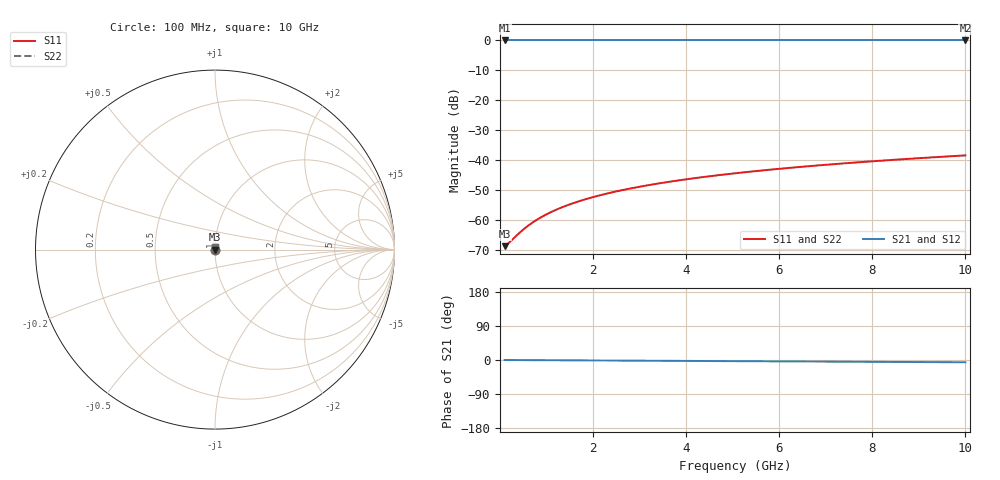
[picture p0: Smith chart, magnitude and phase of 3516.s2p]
# Hz S RI R 50.00
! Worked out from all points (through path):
!   100 points, 100 MHz to 10 GHz, reference 50 ohm
!   highest |S21| = 0.00 dB at 100 MHz (marker M1); lowest = 0.0 dB at 10 GHz (marker M2)
!   lowest |S11| = -68.7 dB at 100 MHz (marker M3), VSWR 1.00, Z = 50 + j0.012 ohm
!   |S11| at or under -10 dB: start of sweep to end of sweep
!   |S22| runs from -68.7 to -38.4 dB; largest |S21 - S12| = 0
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1e8  0.000348 0.00012  0.9996 -0.00104  0.9996 -0.00104  0.000348 0.00012
2e8  0.00035 0.00024  0.9996 -0.00208  0.9996 -0.00208  0.00035 0.00024
4e8  0.000354 0.000479  0.9996 -0.00417  0.9996 -0.00417  0.000354 0.000479
5e8  0.000356 0.000599  0.9996 -0.00521  0.9996 -0.00521  0.000356 0.000599
6e8  0.000358 0.000718  0.9996 -0.00626  0.9996 -0.00626  0.000358 0.000718
7e8  0.00036 0.000838  0.9996 -0.0073  0.9996 -0.0073  0.00036 0.000838
9e8  0.000365 0.00108  0.9996 -0.00938  0.9996 -0.00938  0.000365 0.00108
1.1e9  0.000371 0.00132  0.9996 -0.0115  0.9996 -0.0115  0.000371 0.00132
1.3e9  0.000377 0.00156  0.9995 -0.0136  0.9995 -0.0136  0.000377 0.00156
1.5e9  0.000385 0.00179  0.9995 -0.0156  0.9995 -0.0156  0.000385 0.00179
1.8e9  0.000397 0.00215  0.9994 -0.0188  0.9994 -0.0188  0.000397 0.00215
2.1e9  0.000412 0.00251  0.9994 -0.0219  0.9994 -0.0219  0.000412 0.00251
2.5e9  0.000436 0.00299  0.9993 -0.0261  0.9993 -0.0261  0.000436 0.00299
2.9e9  0.000463 0.00346  0.9992 -0.0303  0.9992 -0.0303  0.000463 0.00346
3.4e9  0.000502 0.00406  0.999 -0.0355  0.999 -0.0355  0.000502 0.00406
4.2e9  0.000578 0.00501  0.9986 -0.0439  0.9986 -0.0439  0.000578 0.00501
5.1e9  0.000683 0.00608  0.9982 -0.0533  0.9982 -0.0533  0.000683 0.00608
5.9e9  0.000793 0.00703  0.9977 -0.0617  0.9977 -0.0617  0.000793 0.00703
6.7e9  0.00092 0.00798  0.9971 -0.0701  0.9971 -0.0701  0.00092 0.00798
7.5e9  0.00106 0.00894  0.9964 -0.0785  0.9964 -0.0785  0.00106 0.00894
8.4e9  0.00124 0.01  0.9956 -0.088  0.9956 -0.088  0.00124 0.01
1e10  0.00162 0.0119  0.994 -0.1049  0.994 -0.1049  0.00162 0.0119
